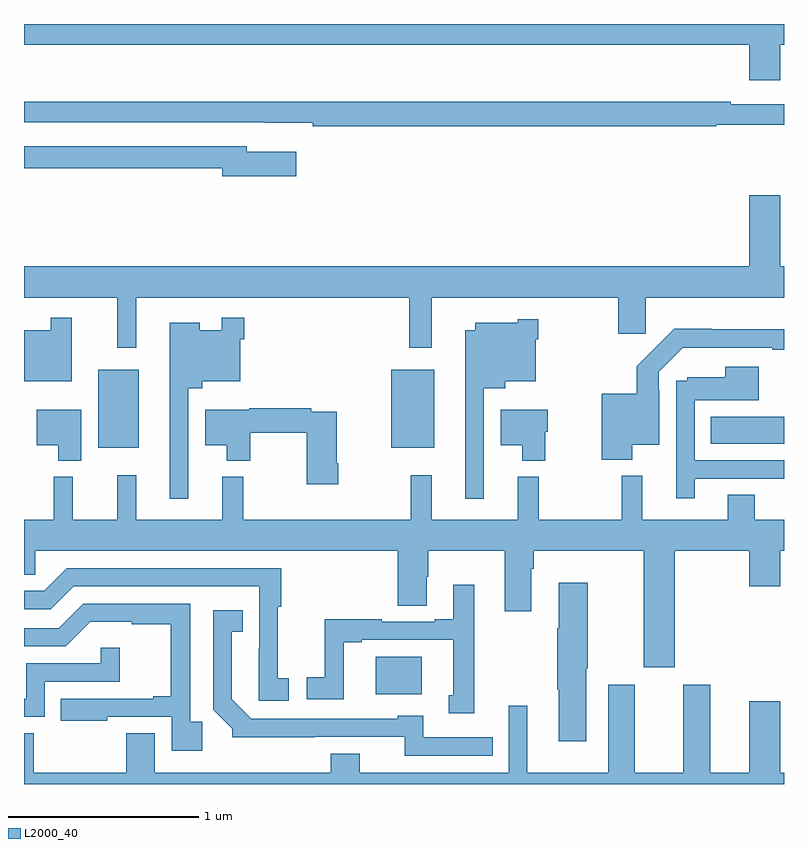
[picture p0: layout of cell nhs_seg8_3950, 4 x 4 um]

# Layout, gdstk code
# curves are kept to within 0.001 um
import gdstk
lib = gdstk.Library(unit=1e-6, precision=1e-09)
def R(c, l, rs):  # rectangles x0, y0, x1, y1
    for r in rs: c.add(gdstk.rectangle(r[:2], r[2:], *l))
def P(c, l, *ps):  # polygons
    for p in ps: c.add(gdstk.Polygon(p, *l))
L2000_40 = (2000, 40)

nhs_seg8_3950 = lib.new_cell('nhs_seg8_3950')
R(nhs_seg8_3950, L2000_40, [(354.851,1154.372,355.093,1154.569), (353.39,1155.671,353.605,1156.081), (354.932,1155.671,355.159,1156.081), (356.614,1155.692,357,1155.832)])
P(nhs_seg8_3950, L2000_40, [(356.98,1157.792),(357,1157.792),(357,1157.9),(353,1157.9),(353,1157.792),(356.816,1157.792),(356.816,1157.604),(356.98,1157.604)],
  [(356.644,1157.37),(357,1157.37),(357,1157.478),(356.72,1157.478),(356.72,1157.491),(353,1157.491),(353,1157.382),(354.268,1157.382),(354.268,1157.381),(354.52,1157.381),(354.52,1157.362),(356.644,1157.362)],
  [(354.433,1157.227),(354.172,1157.227),(354.172,1157.256),(353,1157.256),(353,1157.14),(354.044,1157.14),(354.044,1157.098),(354.433,1157.098)],
  [(353.59,1156.46),(355.027,1156.46),(355.027,1156.197),(355.146,1156.197),(355.146,1156.46),(356.128,1156.46),(356.128,1156.269),(356.273,1156.269),(356.273,1156.46),(357,1156.46),(357,1156.624),(356.98,1156.624),(356.98,1156.999),(356.816,1156.999),(356.816,1156.624),(353,1156.624),(353,1156.46),(353.491,1156.46),(353.491,1156.197),(353.59,1156.197)],
  [(353.25,1156.354),(353.142,1156.354),(353.142,1156.288),(353,1156.288),(353,1156.019),(353.25,1156.019)],
  [(353.865,1155.983),(353.939,1155.983),(353.939,1156.019),(354.138,1156.019),(354.138,1156.241),(354.158,1156.241),(354.158,1156.354),(354.042,1156.354),(354.042,1156.288),(353.926,1156.288),(353.926,1156.327),(353.768,1156.327),(353.768,1155.402),(353.865,1155.402)],
  [(355.419,1155.983),(355.534,1155.983),(355.534,1156.019),(355.693,1156.019),(355.693,1156.241),(355.707,1156.241),(355.707,1156.345),(355.599,1156.345),(355.599,1156.327),(355.376,1156.327),(355.376,1156.288),(355.322,1156.288),(355.322,1155.402),(355.419,1155.402)],
  [(356.2,1155.686),(356.343,1155.686),(356.343,1155.971),(356.34,1155.971),(356.34,1156.071),(356.466,1156.197),(356.939,1156.197),(356.939,1156.185),(357,1156.185),(357,1156.294),(356.621,1156.294),(356.621,1156.297),(356.422,1156.297),(356.225,1156.099),(356.225,1155.955),(356.042,1155.955),(356.042,1155.607),(356.2,1155.607)],
  [(356.53,1155.507),(357,1155.507),(357,1155.603),(356.529,1155.603),(356.529,1155.92),(356.866,1155.92),(356.866,1156.096),(356.69,1156.096),(356.69,1156.042),(356.49,1156.042),(356.49,1156.023),(356.433,1156.023),(356.433,1155.405),(356.53,1155.405)],
  [(354.654,1155.589),(354.646,1155.589),(354.646,1155.858),(354.512,1155.858),(354.512,1155.878),(354.186,1155.878),(354.186,1155.871),(353.954,1155.871),(353.954,1155.683),(354.068,1155.683),(354.068,1155.602),(354.19,1155.602),(354.19,1155.75),(354.488,1155.75),(354.488,1155.477),(354.654,1155.477)],
  [(353.302,1155.871),(353.066,1155.871),(353.066,1155.683),(353.18,1155.683),(353.18,1155.602),(353.302,1155.602)],
  [(355.744,1155.753),(355.756,1155.753),(355.756,1155.871),(355.508,1155.871),(355.508,1155.683),(355.622,1155.683),(355.622,1155.602),(355.744,1155.602)],
  [(356.425,1155.128),(356.816,1155.128),(356.816,1154.94),(356.98,1154.94),(356.98,1155.128),(357,1155.128),(357,1155.292),(356.845,1155.292),(356.845,1155.422),(356.705,1155.422),(356.705,1155.292),(356.255,1155.292),(356.255,1155.522),(356.145,1155.522),(356.145,1155.292),(355.708,1155.292),(355.708,1155.517),(355.598,1155.517),(355.598,1155.292),(355.145,1155.292),(355.145,1155.526),(355.035,1155.526),(355.035,1155.292),(354.154,1155.292),(354.154,1155.517),(354.044,1155.517),(354.044,1155.292),(353.591,1155.292),(353.591,1155.526),(353.491,1155.526),(353.491,1155.292),(353.256,1155.292),(353.256,1155.517),(353.156,1155.517),(353.156,1155.292),(353,1155.292),(353,1155.001),(353.058,1155.001),(353.058,1155.128),(354.968,1155.128),(354.968,1154.839),(355.12,1154.839),(355.12,1154.99),(355.128,1154.99),(355.128,1155.128),(355.529,1155.128),(355.529,1154.808),(355.669,1154.808),(355.669,1155.032),(355.682,1155.032),(355.682,1155.128),(356.261,1155.128),(356.261,1154.514),(356.425,1154.514)],
  [(354.394,1154.457),(354.336,1154.457),(354.336,1154.833),(354.353,1154.833),(354.353,1155.036),(353.226,1155.036),(353.106,1154.916),(353,1154.916),(353,1154.82),(353.142,1154.82),(353.262,1154.94),(354.237,1154.94),(354.236,1154.337),(354.394,1154.337)],
  [(355.96,1154.509),(355.968,1154.509),(355.968,1154.959),(355.814,1154.959),(355.814,1154.72),(355.807,1154.72),(355.807,1154.398),(355.814,1154.398),(355.814,1154.124),(355.96,1154.124)],
  [(355.369,1154.95),(355.259,1154.95),(355.259,1154.767),(355.163,1154.767),(355.163,1154.754),(354.884,1154.754),(354.884,1154.767),(354.583,1154.767),(354.583,1154.462),(354.489,1154.462),(354.489,1154.346),(354.682,1154.346),(354.682,1154.646),(354.778,1154.646),(354.778,1154.658),(355.259,1154.658),(355.259,1154.367),(355.235,1154.367),(355.235,1154.273),(355.369,1154.273)],
  [(353.939,1154.227),(353.874,1154.227),(353.874,1154.85),(353.313,1154.85),(353.184,1154.721),(353,1154.721),(353,1154.625),(353.22,1154.625),(353.348,1154.753),(353.567,1154.753),(353.567,1154.742),(353.773,1154.742),(353.773,1154.362),(353.681,1154.362),(353.681,1154.349),(353.194,1154.349),(353.194,1154.234),(353.437,1154.234),(353.437,1154.253),(353.778,1154.253),(353.778,1154.076),(353.939,1154.076)],
  [(355.466,1154.145),(355.102,1154.145),(355.102,1154.26),(354.966,1154.26),(354.966,1154.244),(354.195,1154.244),(354.094,1154.345),(354.094,1154.702),(354.152,1154.702),(354.152,1154.815),(353.997,1154.815),(353.997,1154.29),(354.096,1154.191),(354.096,1154.147),(355.003,1154.148),(355.003,1154.049),(355.466,1154.049)],
  [(353.109,1154.439),(353.504,1154.439),(353.504,1154.617),(353.403,1154.617),(353.403,1154.535),(353.013,1154.535),(353.013,1154.349),(353,1154.349),(353,1154.253),(353.109,1154.253)],
  [(357,1153.96),(356.98,1153.96),(356.98,1154.335),(356.816,1154.335),(356.816,1153.96),(356.611,1153.96),(356.611,1154.422),(356.471,1154.422),(356.471,1153.96),(356.215,1153.96),(356.215,1154.422),(356.075,1154.422),(356.075,1153.96),(355.648,1153.96),(355.648,1154.311),(355.551,1154.311),(355.551,1153.96),(354.766,1153.96),(354.766,1154.059),(354.614,1154.059),(354.614,1153.96),(353.689,1153.96),(353.689,1154.168),(353.537,1154.168),(353.537,1153.96),(353.051,1153.96),(353.051,1154.168),(353,1154.168),(353,1153.9),(357,1153.9)])

lib.write_gds('nhs_seg8_3950.gds')
